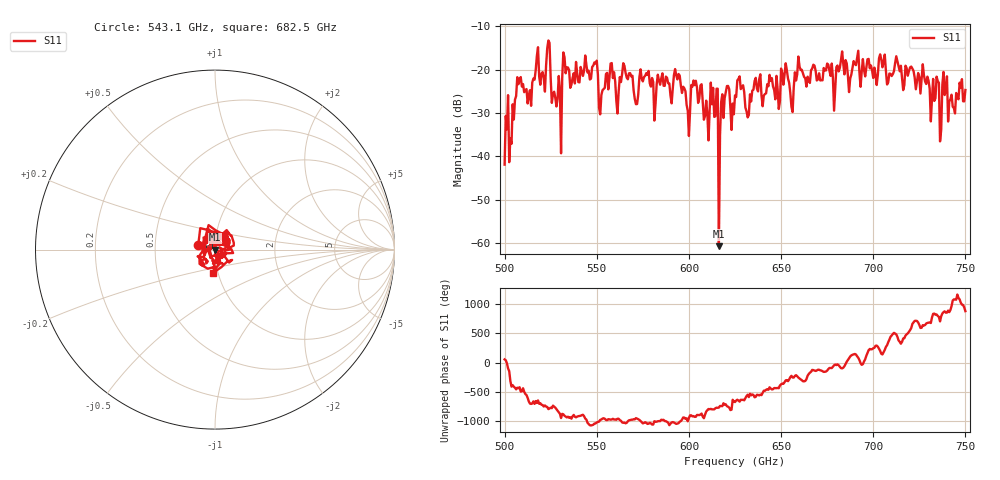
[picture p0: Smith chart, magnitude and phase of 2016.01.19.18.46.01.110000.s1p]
!Created with skrf (http://scikit-rf.org).
# GHz S RI R 50.0
!freq ReS11 ImS11
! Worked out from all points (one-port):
!   401 points, 500 GHz to 750 GHz, reference 50 ohm
!   lowest |S11| = -60.7 dB at 616.2 GHz (marker M1), VSWR 1.00, Z = 50.1 - j0.0689 ohm
!   |S11| at or under -10 dB: start of sweep to end of sweep
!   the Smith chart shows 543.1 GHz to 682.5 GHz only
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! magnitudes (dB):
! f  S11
! 500 GHz  -41.9
! 508.1 GHz  -22.3
! 513.1 GHz  -26.0
! 523.8 GHz  -13.3
! 526.9 GHz  -25.1
! 531.2 GHz  -21.9
! 533.1 GHz  -20.9
! 548.8 GHz  -18.4
! 552.5 GHz  -25.9
! 558.1 GHz  -18.5
! 562.5 GHz  -21.7
! 593.8 GHz  -22.3
! 599.4 GHz  -29.5
! 602.5 GHz  -22.5
! 609.4 GHz  -27.2
! 614.4 GHz  -30.8
! 615 GHz  -24.4
! 616.2 GHz  -60.7
! 620.6 GHz  -23.8
! 625 GHz  -25.9
! 648.1 GHz  -24.5
! 651.2 GHz  -23.5
! 656.2 GHz  -29.8
! 660 GHz  -19.3
! 687.5 GHz  -22.1
! 718.8 GHz  -21.4
! 736.2 GHz  -36.5
! 750 GHz  -24.7
